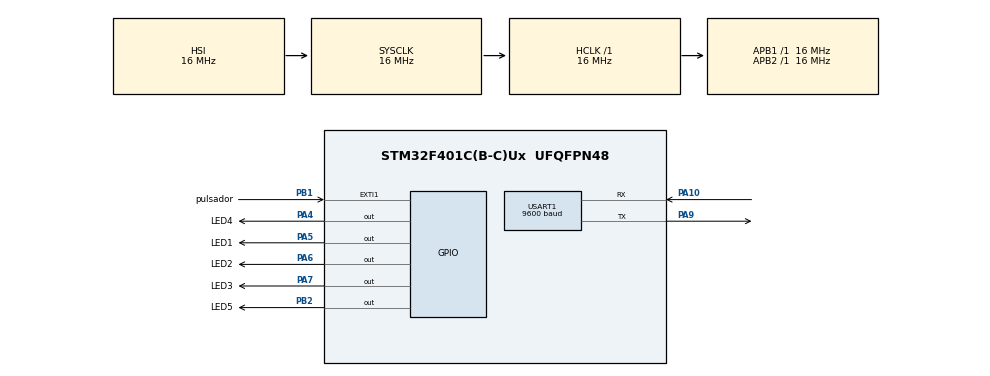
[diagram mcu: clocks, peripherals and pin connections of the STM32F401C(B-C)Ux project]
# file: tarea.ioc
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Dma.Request0=USART1_RX
Dma.USART1_RX.0.Direction=DMA_PERIPH_TO_MEMORY
Dma.USART1_RX.0.FIFOMode=DMA_FIFOMODE_DISABLE
Dma.USART1_RX.0.Instance=DMA2_Stream2
Dma.USART1_RX.0.MemDataAlignment=DMA_MDATAALIGN_BYTE
Dma.USART1_RX.0.MemInc=DMA_MINC_ENABLE
Dma.USART1_RX.0.Mode=DMA_NORMAL
Dma.USART1_RX.0.PeriphDataAlignment=DMA_PDATAALIGN_BYTE
Dma.USART1_RX.0.PeriphInc=DMA_PINC_DISABLE
Dma.USART1_RX.0.Priority=DMA_PRIORITY_LOW
Mcu.Family=STM32F4
Mcu.Name=STM32F401C(B-C)Ux
Mcu.Package=UFQFPN48
NVIC.DMA2_Stream2_IRQn=true\:0\:0\:false\:false\:true\:false\:true\:true
NVIC.EXTI1_IRQn=true\:0\:0\:false\:false\:true\:true\:true\:true
NVIC.PriorityGroup=NVIC_PRIORITYGROUP_2
NVIC.TIM1_UP_TIM10_IRQn=true\:1\:0\:true\:false\:true\:true\:true\:true
NVIC.USART1_IRQn=true\:0\:0\:false\:false\:true\:true\:true\:true
PA10.Mode=Asynchronous
PA10.Signal=USART1_RX
PA4.GPIO_Label=LED4
PA4.Signal=GPIO_Output
PA5.GPIO_Label=LED1
PA5.Signal=GPIO_Output
PA6.GPIO_Label=LED2
PA6.Signal=GPIO_Output
PA7.GPIO_Label=LED3
PA7.Signal=GPIO_Output
PA9.Mode=Asynchronous
PA9.Signal=USART1_TX
PB1.GPIO_Label=pulsador
PB1.GPIO_ModeDefaultEXTI=GPIO_MODE_IT_FALLING
PB1.GPIO_PuPd=GPIO_PULLUP
PB1.Signal=GPXTI1
PB2.GPIO_Label=LED5
PB2.Signal=GPIO_Output
ProjectManager.HeapSize=0x200
ProjectManager.StackSize=0x400
ProjectManager.TargetToolchain=CMake
RCC.AHBFreq_Value=16000000
RCC.APB1Freq_Value=16000000
RCC.APB2Freq_Value=16000000
RCC.CortexFreq_Value=16000000
RCC.HSE_VALUE=25000000
RCC.HSI_VALUE=16000000
RCC.LSE_VALUE=32768
RCC.SYSCLKFreq_VALUE=16000000
RCC.VCOOutputFreq_Value=192000000
TIM1.AutoReloadPreload=TIM_AUTORELOAD_PRELOAD_ENABLE
TIM1.Period=100-1
TIM1.Prescaler=16000-1
USART1.BaudRate=9600
USART1.VirtualMode=VM_ASYNC
VP_TIM1_VS_ClockSourceINT.Mode=Internal
board=custom

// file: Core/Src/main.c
/* USER CODE BEGIN Header */
/**
  ******************************************************************************
  * @file           : main.c
  * @brief          : Main program body
  ******************************************************************************
  * @attention
  *
  * Copyright (c) 2026 STMicroelectronics.
  * All rights reserved.
  *
  * This software is licensed under terms that can be found in the LICENSE file
  * in the root directory of this software component.
  * If no LICENSE file comes with this software, it is provided AS-IS.
  *
  ******************************************************************************
  */
/* USER CODE END Header */
#include "main.h"

/* USER CODE BEGIN Includes */
#include "stdio.h"
#include "string.h"
#include "stdlib.h"
#include "math.h"
#include "stdint.h"
#include "uart.h"
#include "UARTRX.h"

/* USER CODE END Includes */

TIM_HandleTypeDef htim1;

UART_HandleTypeDef huart1;
DMA_HandleTypeDef hdma_usart1_rx;

void SystemClock_Config(void);
static void MX_GPIO_Init(void);
static void MX_DMA_Init(void);
static void MX_TIM1_Init(void);
static void MX_USART1_UART_Init(void);

/* USER CODE BEGIN 0 */
void procesa_rx()
{
  if(strstr(UARTRX1.trama_rx,"LED5=1*")){
    HAL_GPIO_WritePin(LED5_GPIO_Port, LED5_Pin, GPIO_PIN_SET);
  }
  else if(strstr(UARTRX1.trama_rx,"LED5=0*")){
    HAL_GPIO_WritePin(LED5_GPIO_Port, LED5_Pin, GPIO_PIN_RESET);
  }
}
/* USER CODE END 0 */

int main(void)
{

  /* MCU Configuration--------------------------------------------------------*/

  /* Reset of all peripherals, Initializes the Flash interface and the Systick. */
  HAL_Init();

  /* Configure the system clock */
  SystemClock_Config();

  /* Initialize all configured peripherals */
  MX_GPIO_Init();
  MX_DMA_Init();
  MX_TIM1_Init();
  MX_USART1_UART_Init();
  /* USER CODE BEGIN 2 */
 HAL_TIM_Base_Start_IT(&htim1);
 uartRX_it_idle_dma_init( &UARTRX1);

  /* USER CODE END 2 */

  /* Infinite loop */
  /* USER CODE BEGIN WHILE */
  while (1)
  {
    HAL_GPIO_TogglePin(LED1_GPIO_Port, LED1_Pin);
    HAL_Delay(100);

    if (UARTRX1.flag_rx==1)
	  {
	     uartx_write_text(&huart1, UARTRX1.trama_rx);
	    procesa_rx(); //procedimeinto donde se procesan los datos
		  uartRX_DMA_Re_init(&UARTRX1);
	  }

    /* USER CODE END WHILE */

  }
}

void SystemClock_Config(void)
{
  RCC_OscInitTypeDef RCC_OscInitStruct = {0};
  RCC_ClkInitTypeDef RCC_ClkInitStruct = {0};

  /** Configure the main internal regulator output voltage
  */
  __HAL_RCC_PWR_CLK_ENABLE();
  __HAL_PWR_VOLTAGESCALING_CONFIG(PWR_REGULATOR_VOLTAGE_SCALE2);

  /** Initializes the RCC Oscillators according to the specified parameters
  * in the RCC_OscInitTypeDef structure.
  */
  RCC_OscInitStruct.OscillatorType = RCC_OSCILLATORTYPE_HSI;
  RCC_OscInitStruct.HSIState = RCC_HSI_ON;
  RCC_OscInitStruct.HSICalibrationValue = RCC_HSICALIBRATION_DEFAULT;
  RCC_OscInitStruct.PLL.PLLState = RCC_PLL_NONE;
  if (HAL_RCC_OscConfig(&RCC_OscInitStruct) != HAL_OK)
  {
    Error_Handler();
  }

  /** Initializes the CPU, AHB and APB buses clocks
  */
  RCC_ClkInitStruct.ClockType = RCC_CLOCKTYPE_HCLK|RCC_CLOCKTYPE_SYSCLK
                              |RCC_CLOCKTYPE_PCLK1|RCC_CLOCKTYPE_PCLK2;
  RCC_ClkInitStruct.SYSCLKSource = RCC_SYSCLKSOURCE_HSI;
  RCC_ClkInitStruct.AHBCLKDivider = RCC_SYSCLK_DIV1;
  RCC_ClkInitStruct.APB1CLKDivider = RCC_HCLK_DIV1;
  RCC_ClkInitStruct.APB2CLKDivider = RCC_HCLK_DIV1;

  if (HAL_RCC_ClockConfig(&RCC_ClkInitStruct, FLASH_LATENCY_0) != HAL_OK)
  {
    Error_Handler();
  }
}

static void MX_TIM1_Init(void)
{

  TIM_ClockConfigTypeDef sClockSourceConfig = {0};
  TIM_MasterConfigTypeDef sMasterConfig = {0};

  htim1.Instance = TIM1;
  htim1.Init.Prescaler = 16000-1;
  htim1.Init.CounterMode = TIM_COUNTERMODE_UP;
  htim1.Init.Period = 100-1;
  htim1.Init.ClockDivision = TIM_CLOCKDIVISION_DIV1;
  htim1.Init.RepetitionCounter = 0;
  htim1.Init.AutoReloadPreload = TIM_AUTORELOAD_PRELOAD_ENABLE;
  if (HAL_TIM_Base_Init(&htim1) != HAL_OK)
  {
    Error_Handler();
  }
  sClockSourceConfig.ClockSource = TIM_CLOCKSOURCE_INTERNAL;
  if (HAL_TIM_ConfigClockSource(&htim1, &sClockSourceConfig) != HAL_OK)
  {
    Error_Handler();
  }
  sMasterConfig.MasterOutputTrigger = TIM_TRGO_RESET;
  sMasterConfig.MasterSlaveMode = TIM_MASTERSLAVEMODE_DISABLE;
  if (HAL_TIMEx_MasterConfigSynchronization(&htim1, &sMasterConfig) != HAL_OK)
  {
    Error_Handler();
  }

}

static void MX_USART1_UART_Init(void)
{

  huart1.Instance = USART1;
  huart1.Init.BaudRate = 9600;
  huart1.Init.WordLength = UART_WORDLENGTH_8B;
  huart1.Init.StopBits = UART_STOPBITS_1;
  huart1.Init.Parity = UART_PARITY_NONE;
  huart1.Init.Mode = UART_MODE_TX_RX;
  huart1.Init.HwFlowCtl = UART_HWCONTROL_NONE;
  huart1.Init.OverSampling = UART_OVERSAMPLING_16;
  if (HAL_UART_Init(&huart1) != HAL_OK)
  {
    Error_Handler();
  }

}

static void MX_DMA_Init(void)
{

  /* DMA controller clock enable */
  __HAL_RCC_DMA2_CLK_ENABLE();

  /* DMA interrupt init */
  /* DMA2_Stream2_IRQn interrupt configuration */
  HAL_NVIC_SetPriority(DMA2_Stream2_IRQn, 0, 0);
  HAL_NVIC_EnableIRQ(DMA2_Stream2_IRQn);

}

static void MX_GPIO_Init(void)
{
  GPIO_InitTypeDef GPIO_InitStruct = {0};

  /* GPIO Ports Clock Enable */
  __HAL_RCC_GPIOA_CLK_ENABLE();
  __HAL_RCC_GPIOB_CLK_ENABLE();

  /*Configure GPIO pin Output Level */
  HAL_GPIO_WritePin(GPIOA, LED4_Pin|LED1_Pin|LED2_Pin|LED3_Pin, GPIO_PIN_RESET);

  /*Configure GPIO pin Output Level */
  HAL_GPIO_WritePin(LED5_GPIO_Port, LED5_Pin, GPIO_PIN_RESET);

  /*Configure GPIO pins : LED4_Pin LED1_Pin LED2_Pin LED3_Pin */
  GPIO_InitStruct.Pin = LED4_Pin|LED1_Pin|LED2_Pin|LED3_Pin;
  GPIO_InitStruct.Mode = GPIO_MODE_OUTPUT_PP;
  GPIO_InitStruct.Pull = GPIO_NOPULL;
  GPIO_InitStruct.Speed = GPIO_SPEED_FREQ_LOW;
  HAL_GPIO_Init(GPIOA, &GPIO_InitStruct);

  /*Configure GPIO pin : pulsador_Pin */
  GPIO_InitStruct.Pin = pulsador_Pin;
  GPIO_InitStruct.Mode = GPIO_MODE_IT_FALLING;
  GPIO_InitStruct.Pull = GPIO_PULLUP;
  HAL_GPIO_Init(pulsador_GPIO_Port, &GPIO_InitStruct);

  /*Configure GPIO pin : LED5_Pin */
  GPIO_InitStruct.Pin = LED5_Pin;
  GPIO_InitStruct.Mode = GPIO_MODE_OUTPUT_PP;
  GPIO_InitStruct.Pull = GPIO_NOPULL;
  GPIO_InitStruct.Speed = GPIO_SPEED_FREQ_LOW;
  HAL_GPIO_Init(LED5_GPIO_Port, &GPIO_InitStruct);

  /* EXTI interrupt init*/
  HAL_NVIC_SetPriority(EXTI1_IRQn, 0, 0);
  HAL_NVIC_EnableIRQ(EXTI1_IRQn);

}

void Error_Handler(void)
{
  __disable_irq();
  while (1)
  {
  }
}
